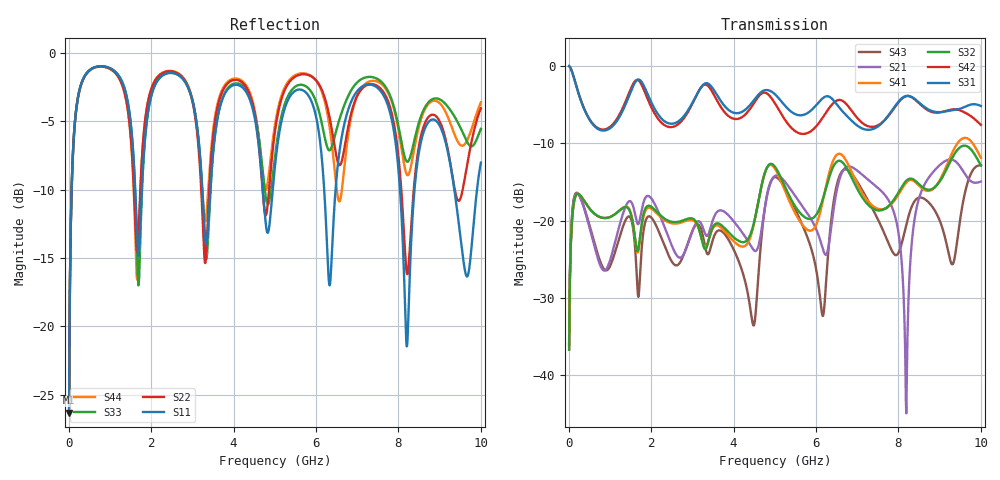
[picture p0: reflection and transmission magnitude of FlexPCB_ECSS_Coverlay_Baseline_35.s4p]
! TOUCHSTONE file generated by CST MICROWAVE STUDIO
! Date and time: Sun Jul  5 19:09:54 2026
! Project name: FlexPCB_ECSS_Coverlay_Baseline.cst
! Parameters = {Gap=1.2; GroundW=9.8; Hadh=0.025; Hcov=0.025; Hsub=0.1; L=50; Tcu=0.035; W=0.26}
! Header version: 2024
! Port assignment regex: !\s*Touchstone port\s*([0-9]+)\s*=\s*(CST MWS port|CST DES external port|CST DES block port)\s*(.+)\s* \(\"(.*)\"\)(\s*mode\s*([0-9]+))?.*
! Touchstone port assignment:
! Touchstone port 1 = CST MWS port 1 ("")
! Touchstone port 2 = CST MWS port 2 ("")
! Touchstone port 3 = CST MWS port 3 ("")
! Touchstone port 4 = CST MWS port 4 ("")
# GHz S MA R 50
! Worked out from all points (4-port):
!   1002 points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, 10 MHz to 10 GHz, reference 50 ohm
!   strongest paths, dB at 10 MHz, 2.51 GHz, 5.01 GHz, 7.503 GHz, 10 GHz:
!     S31: 0.0, -7.5, -3.7, -7.8, -5.2
!     S42: 0.0, -7.9, -4.9, -7.7, -7.6
!     S32: -36.7, -20.1, -13.1, -18.7, -12.8
!     S41: -36.7, -20.3, -13.3, -18.5, -11.9
!     S21: -36.0, -23.3, -14.2, -15.7, -14.9
!     S43: -36.0, -25.3, -14.4, -19.8, -12.9
!   lowest |S11| = -26.3 dB at 10 MHz (marker M1), VSWR 1.10, Z = 49.6 - j4.79 ohm
!   |S11| at or under -10 dB: 6.198 GHz to 6.474 GHz (276.1 MHz wide, 4.36 % of centre); 8.037 GHz to 8.389 GHz (352.3 MHz wide, 4.29 % of centre); 9.355 GHz to 9.906 GHz (550.6 MHz wide, 5.72 % of centre)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
0.01  0.04829 -92.5  0.01586 84.0  0.9976 -3.1  0.01469 84.1
      0.01586 84.0  0.048 -92.5  0.01469 84.1  0.9977 -3.1
      0.9976 -3.1  0.01469 84.1  0.04829 -92.5  0.01586 84.0
      0.01469 84.1  0.9977 -3.1  0.01586 84.0  0.048 -92.5
1.67  0.1983 153.1  0.09565 -16.6  0.815 178.3  0.06223 -179.3
      0.09565 -16.6  0.1896 -176.4  0.06359 -176.0  0.8129 173.1
      0.815 178.3  0.06359 -176.0  0.1624 149.9  0.03586 -34.0
      0.06223 -179.3  0.8129 173.1  0.03586 -34.0  0.1524 -171.5
3.28  0.251 139.4  0.08649 -44.3  0.7639 0.3  0.06908 9.5
      0.08649 -44.3  0.1923 149.9  0.06735 9.0  0.7552 -1.3
      0.7639 0.3  0.06735 9.0  0.233 141.6  0.07424 -43.6
      0.06908 9.5  0.7552 -1.3  0.07424 -43.6  0.2566 159.7
4.79  0.2311 153.9  0.1352 69.3  0.6994 -179.1  0.2141 -107.6
      0.1352 69.3  0.2556 178.3  0.2149 -107.5  0.6691 177.9
      0.6994 -179.1  0.2149 -107.5  0.2912 165.3  0.1369 60.7
      0.2141 -107.6  0.6691 177.9  0.1369 60.7  0.3165 177.8
6.3  0.1554 147.8  0.0674 122.0  0.6367 4.9  0.1945 100.1
     0.0674 122.0  0.6093 147.5  0.1834 88.2  0.5263 30.2
     0.6367 4.9  0.1834 88.2  0.4425 173.3  0.06434 93.0
     0.1945 100.1  0.5263 30.2  0.06434 93.0  0.5726 142.6
8.19  0.08798 144.1  0.005697 -87.9  0.6409 163.8  0.1765 -127.0
      0.005697 -87.9  0.1617 147.4  0.1813 -129.2  0.6378 167.3
      0.6409 163.8  0.1813 -129.2  0.4024 161.8  0.09415 -37.6
      0.1765 -127.0  0.6378 167.3  0.09415 -37.6  0.3622 161.5
10  0.3968 -150.4  0.1792 -36.1  0.5519 -53.1  0.2552 1.6
    0.1792 -36.1  0.6265 -167.6  0.2285 5.5  0.4165 -58.8
    0.5519 -53.1  0.2285 5.5  0.5273 176.1  0.2274 -50.2
    0.2552 1.6  0.4165 -58.8  0.2274 -50.2  0.6583 -174.8
